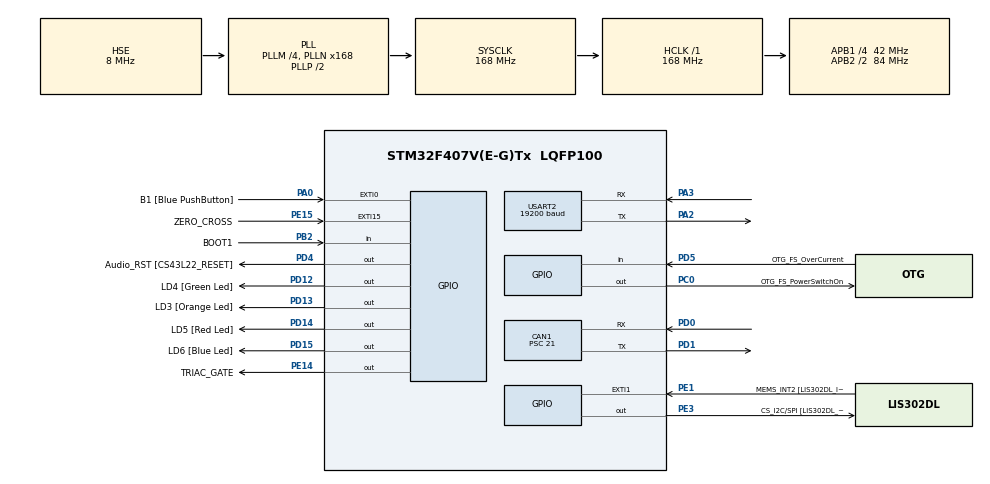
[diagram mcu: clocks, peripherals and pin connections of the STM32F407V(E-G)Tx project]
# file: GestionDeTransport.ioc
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CAN1.BS1=CAN_BS1_13TQ
CAN1.BS2=CAN_BS2_2TQ
CAN1.CalculateBaudRate=125000
CAN1.CalculateTimeBit=8000
CAN1.CalculateTimeQuantum=500.0
CAN1.Prescaler=21
Mcu.Family=STM32F4
Mcu.Name=STM32F407V(E-G)Tx
Mcu.Package=LQFP100
NVIC.EXTI15_10_IRQn=true\:0\:0\:false\:false\:true\:true\:true\:true
NVIC.PriorityGroup=NVIC_PRIORITYGROUP_0
NVIC.TIM6_DAC_IRQn=true\:0\:0\:false\:false\:true\:true\:true\:true
NVIC.TIM7_IRQn=true\:0\:0\:false\:false\:true\:true\:true\:true
PA0-WKUP.GPIO_Label=B1 [Blue PushButton]
PA0-WKUP.Signal=GPXTI0
PA10.GPIO_Label=OTG_FS_ID
PA10.GPIO_Mode=GPIO_MODE_AF_PP
PA10.GPIO_PuPd=GPIO_NOPULL
PA10.GPIO_Speed=GPIO_SPEED_FREQ_LOW
PA10.Signal=USB_OTG_FS_ID
PA11.GPIO_Label=OTG_FS_DM
PA11.GPIO_Mode=GPIO_MODE_AF_PP
PA11.GPIO_PuPd=GPIO_NOPULL
PA11.GPIO_Speed=GPIO_SPEED_FREQ_LOW
PA11.Signal=USB_OTG_FS_DM
PA12.GPIO_Label=OTG_FS_DP
PA12.GPIO_Mode=GPIO_MODE_AF_PP
PA12.GPIO_PuPd=GPIO_NOPULL
PA12.GPIO_Speed=GPIO_SPEED_FREQ_LOW
PA12.Signal=USB_OTG_FS_DP
PA13.GPIO_Label=SWDIO
PA13.Signal=SYS_JTMS-SWDIO
PA14.GPIO_Label=SWCLK
PA14.Signal=SYS_JTCK-SWCLK
PA2.Mode=Asynchronous
PA2.Signal=USART2_TX
PA3.Mode=Asynchronous
PA3.Signal=USART2_RX
PA4.GPIO_Label=I2S3_WS [CS43L22_LRCK]
PA4.GPIO_Mode=GPIO_MODE_AF_PP
PA4.GPIO_PuPd=GPIO_NOPULL
PA4.GPIO_Speed=GPIO_SPEED_FREQ_LOW
PA4.Signal=I2S3_WS
PA5.GPIO_Label=SPI1_SCK [LIS302DL_SCL/SPC]
PA5.GPIO_Mode=GPIO_MODE_AF_PP
PA5.GPIO_PuPd=GPIO_NOPULL
PA5.GPIO_Speed=GPIO_SPEED_FREQ_LOW
PA5.Signal=SPI1_SCK
PA6.GPIO_Label=SPI1_MISO [LIS302DL_SDO]
PA6.GPIO_Mode=GPIO_MODE_AF_PP
PA6.GPIO_PuPd=GPIO_NOPULL
PA6.GPIO_Speed=GPIO_SPEED_FREQ_LOW
PA6.Signal=SPI1_MISO
PA7.GPIO_Label=SPI1_MOSI [LIS302DL_SDA/SDI/SDO]
PA7.GPIO_Mode=GPIO_MODE_AF_PP
PA7.GPIO_PuPd=GPIO_NOPULL
PA7.GPIO_Speed=GPIO_SPEED_FREQ_LOW
PA7.Signal=SPI1_MOSI
PA9.GPIO_Label=VBUS_FS
PA9.GPIO_Mode=GPIO_MODE_INPUT
PA9.GPIO_PuPd=GPIO_NOPULL
PA9.Signal=USB_OTG_FS_VBUS
PB10.GPIO_Label=CLK_IN [MP45DT02_CLK]
PB10.GPIO_Mode=GPIO_MODE_AF_PP
PB10.GPIO_PuPd=GPIO_NOPULL
PB10.GPIO_Speed=GPIO_SPEED_FREQ_LOW
PB10.Signal=I2S2_CK
PB2.GPIO_Label=BOOT1
PB2.GPIO_Mode=GPIO_MODE_INPUT
PB2.GPIO_PuPd=GPIO_NOPULL
PB2.Signal=GPIO_Input
PB3.GPIO_Label=SWO
PB3.Signal=SYS_JTDO-SWO
PB6.GPIO_Label=Audio_SCL [CS43L22_SCL]
PB6.GPIO_Mode=GPIO_MODE_AF_OD
PB6.GPIO_PuPd=GPIO_NOPULL
PB6.GPIO_Speed=GPIO_SPEED_FREQ_LOW
PB6.Signal=I2C1_SCL
PB9.GPIO_Label=Audio_SDA [CS43L22_SDA]
PB9.GPIO_Mode=GPIO_MODE_AF_OD
PB9.GPIO_PuPd=GPIO_NOPULL
PB9.GPIO_Speed=GPIO_SPEED_FREQ_LOW
PB9.Signal=I2C1_SDA
PC0.GPIO_Label=OTG_FS_PowerSwitchOn
PC0.GPIO_PuPd=GPIO_NOPULL
PC0.GPIO_Speed=GPIO_SPEED_FREQ_LOW
PC0.PinState=GPIO_PIN_SET
PC0.Signal=GPIO_Output
PC10.GPIO_Label=I2S3_SCK [CS43L22_SCLK]
PC10.GPIO_Mode=GPIO_MODE_AF_PP
PC10.GPIO_PuPd=GPIO_NOPULL
PC10.GPIO_Speed=GPIO_SPEED_FREQ_LOW
PC10.Signal=I2S3_CK
PC12.GPIO_Label=I2S3_SD [CS43L22_SDIN]
PC12.GPIO_Mode=GPIO_MODE_AF_PP
PC12.GPIO_PuPd=GPIO_NOPULL
PC12.GPIO_Speed=GPIO_SPEED_FREQ_LOW
PC12.Signal=I2S3_SD
PC14-OSC32_IN.GPIO_Label=PC14-OSC32_IN
PC14-OSC32_IN.Signal=RCC_OSC32_IN
PC15-OSC32_OUT.GPIO_Label=PC15-OSC32_OUT
PC15-OSC32_OUT.Signal=RCC_OSC32_OUT
PC3.GPIO_Label=PDM_OUT [MP45DT02_DOUT]
PC3.GPIO_Mode=GPIO_MODE_AF_PP
PC3.GPIO_PuPd=GPIO_NOPULL
PC3.GPIO_Speed=GPIO_SPEED_FREQ_LOW
PC3.Signal=I2S2_SD
PC7.GPIO_Label=I2S3_MCK [CS43L22_MCLK]
PC7.GPIO_Mode=GPIO_MODE_AF_PP
PC7.GPIO_PuPd=GPIO_NOPULL
PC7.GPIO_Speed=GPIO_SPEED_FREQ_LOW
PC7.Signal=I2S3_MCK
PD0.Mode=CAN_Activate
PD0.Signal=CAN1_RX
PD1.Mode=CAN_Activate
PD1.Signal=CAN1_TX
PD12.GPIO_Label=LD4 [Green Led]
PD12.GPIO_PuPd=GPIO_NOPULL
PD12.GPIO_Speed=GPIO_SPEED_FREQ_LOW
PD12.Signal=GPIO_Output
PD13.GPIO_Label=LD3 [Orange Led]
PD13.GPIO_PuPd=GPIO_NOPULL
PD13.GPIO_Speed=GPIO_SPEED_FREQ_LOW
PD13.Signal=GPIO_Output
PD14.GPIO_Label=LD5 [Red Led]
PD14.GPIO_PuPd=GPIO_NOPULL
PD14.GPIO_Speed=GPIO_SPEED_FREQ_LOW
PD14.Signal=GPIO_Output
PD15.GPIO_Label=LD6 [Blue Led]
PD15.GPIO_PuPd=GPIO_NOPULL
PD15.GPIO_Speed=GPIO_SPEED_FREQ_LOW
PD15.Signal=GPIO_Output
PD4.GPIO_Label=Audio_RST [CS43L22_RESET]
PD4.GPIO_PuPd=GPIO_NOPULL
PD4.GPIO_Speed=GPIO_SPEED_FREQ_LOW
PD4.Signal=GPIO_Output
PD5.GPIO_Label=OTG_FS_OverCurrent
PD5.GPIO_Mode=GPIO_MODE_INPUT
PD5.GPIO_PuPd=GPIO_NOPULL
PD5.Signal=GPIO_Input
PE1.GPIO_Label=MEMS_INT2 [LIS302DL_INT2]
PE1.GPIO_ModeDefaultEXTI=GPIO_MODE_EVT_RISING
PE1.GPIO_PuPd=GPIO_NOPULL
PE1.Signal=GPXTI1
PE14.GPIO_Label=TRIAC_GATE
PE14.Signal=GPIO_Output
PE15.GPIO_Label=ZERO_CROSS
PE15.GPIO_ModeDefaultEXTI=GPIO_MODE_IT_RISING
PE15.Signal=GPXTI15
PE3.GPIO_Label=CS_I2C/SPI [LIS302DL_CS_I2C/SPI]
PE3.GPIO_PuPd=GPIO_NOPULL
PE3.GPIO_Speed=GPIO_SPEED_FREQ_LOW
PE3.Signal=GPIO_Output
PH0-OSC_IN.GPIO_Label=PH0-OSC_IN
PH0-OSC_IN.Mode=HSE-External-Oscillator
PH0-OSC_IN.Signal=RCC_OSC_IN
PH1-OSC_OUT.GPIO_Label=PH1-OSC_OUT
PH1-OSC_OUT.Mode=HSE-External-Oscillator
PH1-OSC_OUT.Signal=RCC_OSC_OUT
ProjectManager.HeapSize=0x200
ProjectManager.StackSize=0x400
ProjectManager.TargetToolchain=EWARM V7
RCC.48MHZClocksFreq_Value=48000000
RCC.AHBFreq_Value=168000000
RCC.APB1CLKDivider=RCC_HCLK_DIV4
RCC.APB1Freq_Value=42000000
RCC.APB1TimFreq_Value=84000000
RCC.APB2CLKDivider=RCC_HCLK_DIV2
RCC.APB2Freq_Value=84000000
RCC.APB2TimFreq_Value=168000000
RCC.CortexFreq_Value=168000000
RCC.HCLKFreq_Value=168000000
RCC.HSE_VALUE=8000000
RCC.HSI_VALUE=16000000
RCC.LSE_VALUE=32768
RCC.PLLM=4
RCC.PLLN=168
RCC.PLLQ=7
RCC.PLLSourceVirtual=RCC_PLLSOURCE_HSE
RCC.SYSCLKFreq_VALUE=168000000
RCC.SYSCLKSource=RCC_SYSCLKSOURCE_PLLCLK
RCC.VCOOutputFreq_Value=336000000
TIM6.Period=PILOTETIMER6UP_COMPTE_MAXIMAL
TIM6.TIM_MasterOutputTrigger=TIM_TRGO_ENABLE
TIM7.Period=16799
TIM7.Prescaler=0
USART2.BaudRate=19200
USART2.VirtualMode=VM_ASYNC
VP_TIM6_VS_ClockSourceINT.Mode=Enable_Timer
VP_TIM7_VS_ClockSourceINT.Mode=Enable_Timer
board=STM32F407G-DISC1

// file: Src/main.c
/* USER CODE BEGIN Header */
/**
  ******************************************************************************
  * @file           : main.c
  * @brief          : Main program body
  ******************************************************************************
  * @attention
  *
  * <h2><center>&copy; Copyright (c) 2019 STMicroelectronics.
  * All rights reserved.</center></h2>
  *
  * This software component is licensed by ST under BSD 3-Clause license,
  * the "License"; You may not use this file except in compliance with the
  * License. You may obtain a copy of the License at:
  *                        opensource.org/licenses/BSD-3-Clause
  *
  ******************************************************************************
  */
/* USER CODE END Header */
#include "main.h"

/* USER CODE BEGIN Includes */
#include "stm32f4xx_hal.h"
//notes sur l'utilisation des timers.
// https://www.st.com/content/ccc/resource/technical/document/application_note/group0/91/01/84/3f/7c/67/41/3f/DM00236305/files/DM00236305.pdf/jcr:content/translations/en.DM00236305.pdf
//https://stm32f4-discovery.net/2014/05/stm32f4-stm32f429-discovery-pwm-tutorial/
//timer 6 sur APB1
//timer_tick_frequency = Timer_default_frequency / (prescaller_set + 1)
//default_frequency = 84MHz compte tenu des options choisies avec le "cube"
//TIM_Period = timer_tick_frequency / TIM_frequency - 1
//il faut s'assurer que le compte pour la periode est plus petit que 65536

//usart2
//tx pa2
//rx pa3
#include "serviceProtocole637.h"
#include "serviceCan637.h"
#include "ProcessusCAN_UART.h"
#include "piloteCAN1.h"
#include "piloteTimer6Up.h"
#include "piloteUSART2.h"
#include "piloteIOT1.h"
#include "piloteIOT2.h"
#include "serviceBaseDeTemps.h"
#include "serviceTriac.h"
#include "interfaceT1.h"
#include "interfaceT2.h"
#include "serviceProtocole637.h"
#include "processusAscenseur.h"
#include "processusClignotant.h"
//#include "processusReceptionEtat.h"
/* USER CODE END Includes */

CAN_HandleTypeDef hcan1;

TIM_HandleTypeDef htim6;
TIM_HandleTypeDef htim7;

UART_HandleTypeDef huart2;

void SystemClock_Config(void);
static void MX_GPIO_Init(void);
static void MX_USART2_UART_Init(void);
static void MX_TIM6_Init(void);
static void MX_CAN1_Init(void);
static void MX_TIM7_Init(void);

/* USER CODE BEGIN 0 */
void main_initialise(void)
{
piloteTimer6Up_initialise();
piloteUSART2_initialise();
piloteCAN1_initialise();

piloteIOT1_initialise();
piloteIOT2_initialise();
serviceBaseDeTemps_initialise();

interfaceT1_initialise();
interfaceT2_initialise();
serviceProtocole637_initialise();
serviceCan637_initialise();
processusCAN_UART_initialise();
processusClignotant_initialise();
serviceTriac_initialise();
processusTriac_initialise();

    // TEST: Force niveau 50%
//    serviceTriac_fixeNiveau(50);
//    serviceTriac_active();
}

void neFaitRien(void)
{
}

/* USER CODE END 0 */

int main(void)
{

  /* MCU Configuration--------------------------------------------------------*/

  /* Reset of all peripherals, Initializes the Flash interface and the Systick. */
  HAL_Init();

  /* Configure the system clock */
  SystemClock_Config();

  /* Initialize all configured peripherals */
  MX_GPIO_Init();
  MX_USART2_UART_Init();
  MX_TIM6_Init();
  MX_CAN1_Init();
  MX_TIM7_Init();
  /* USER CODE BEGIN 2 */
  main_initialise();
  piloteTimer6Up_permetLesInterruptions();

  /* USER CODE END 2 */

  /* Infinite loop */
  while (1)
  {

  }
}

void SystemClock_Config(void)
{
  RCC_OscInitTypeDef RCC_OscInitStruct = {0};
  RCC_ClkInitTypeDef RCC_ClkInitStruct = {0};

  /** Configure the main internal regulator output voltage
  */
  __HAL_RCC_PWR_CLK_ENABLE();
  __HAL_PWR_VOLTAGESCALING_CONFIG(PWR_REGULATOR_VOLTAGE_SCALE1);

  /** Initializes the RCC Oscillators according to the specified parameters
  * in the RCC_OscInitTypeDef structure.
  */
  RCC_OscInitStruct.OscillatorType = RCC_OSCILLATORTYPE_HSE;
  RCC_OscInitStruct.HSEState = RCC_HSE_ON;
  RCC_OscInitStruct.PLL.PLLState = RCC_PLL_ON;
  RCC_OscInitStruct.PLL.PLLSource = RCC_PLLSOURCE_HSE;
  RCC_OscInitStruct.PLL.PLLM = 4;
  RCC_OscInitStruct.PLL.PLLN = 168;
  RCC_OscInitStruct.PLL.PLLP = RCC_PLLP_DIV2;
  RCC_OscInitStruct.PLL.PLLQ = 7;
  if (HAL_RCC_OscConfig(&RCC_OscInitStruct) != HAL_OK)
  {
    Error_Handler();
  }

  /** Initializes the CPU, AHB and APB buses clocks
  */
  RCC_ClkInitStruct.ClockType = RCC_CLOCKTYPE_HCLK|RCC_CLOCKTYPE_SYSCLK
                              |RCC_CLOCKTYPE_PCLK1|RCC_CLOCKTYPE_PCLK2;
  RCC_ClkInitStruct.SYSCLKSource = RCC_SYSCLKSOURCE_PLLCLK;
  RCC_ClkInitStruct.AHBCLKDivider = RCC_SYSCLK_DIV1;
  RCC_ClkInitStruct.APB1CLKDivider = RCC_HCLK_DIV4;
  RCC_ClkInitStruct.APB2CLKDivider = RCC_HCLK_DIV2;

  if (HAL_RCC_ClockConfig(&RCC_ClkInitStruct, FLASH_LATENCY_5) != HAL_OK)
  {
    Error_Handler();
  }
}

static void MX_CAN1_Init(void)
{

  hcan1.Instance = CAN1;
  hcan1.Init.Prescaler = 21;
  hcan1.Init.Mode = CAN_MODE_NORMAL;
  hcan1.Init.SyncJumpWidth = CAN_SJW_1TQ;
  hcan1.Init.TimeSeg1 = CAN_BS1_13TQ;
  hcan1.Init.TimeSeg2 = CAN_BS2_2TQ;
  hcan1.Init.TimeTriggeredMode = DISABLE;
  hcan1.Init.AutoBusOff = DISABLE;
  hcan1.Init.AutoWakeUp = DISABLE;
  hcan1.Init.AutoRetransmission = DISABLE;
  hcan1.Init.ReceiveFifoLocked = DISABLE;
  hcan1.Init.TransmitFifoPriority = DISABLE;
  if (HAL_CAN_Init(&hcan1) != HAL_OK)
  {
    Error_Handler();
  }

}

static void MX_TIM6_Init(void)
{

  TIM_MasterConfigTypeDef sMasterConfig = {0};

  htim6.Instance = TIM6;
  htim6.Init.Prescaler = 0;
  htim6.Init.CounterMode = TIM_COUNTERMODE_UP;
  htim6.Init.Period = PILOTETIMER6UP_COMPTE_MAXIMAL;
  htim6.Init.AutoReloadPreload = TIM_AUTORELOAD_PRELOAD_DISABLE;
  if (HAL_TIM_Base_Init(&htim6) != HAL_OK)
  {
    Error_Handler();
  }
  sMasterConfig.MasterOutputTrigger = TIM_TRGO_ENABLE;
  sMasterConfig.MasterSlaveMode = TIM_MASTERSLAVEMODE_DISABLE;
  if (HAL_TIMEx_MasterConfigSynchronization(&htim6, &sMasterConfig) != HAL_OK)
  {
    Error_Handler();
  }

}

static void MX_TIM7_Init(void)
{

  TIM_MasterConfigTypeDef sMasterConfig = {0};

  htim7.Instance = TIM7;
  htim7.Init.Prescaler = 0;
  htim7.Init.CounterMode = TIM_COUNTERMODE_UP;
  htim7.Init.Period = 16799;
  htim7.Init.AutoReloadPreload = TIM_AUTORELOAD_PRELOAD_DISABLE;
  if (HAL_TIM_Base_Init(&htim7) != HAL_OK)
  {
    Error_Handler();
  }
  sMasterConfig.MasterOutputTrigger = TIM_TRGO_RESET;
  sMasterConfig.MasterSlaveMode = TIM_MASTERSLAVEMODE_DISABLE;
  if (HAL_TIMEx_MasterConfigSynchronization(&htim7, &sMasterConfig) != HAL_OK)
  {
    Error_Handler();
  }

}

static void MX_USART2_UART_Init(void)
{

  huart2.Instance = USART2;
  huart2.Init.BaudRate = 19200;
  huart2.Init.WordLength = UART_WORDLENGTH_8B;
  huart2.Init.StopBits = UART_STOPBITS_1;
  huart2.Init.Parity = UART_PARITY_NONE;
  huart2.Init.Mode = UART_MODE_TX_RX;
  huart2.Init.HwFlowCtl = UART_HWCONTROL_NONE;
  huart2.Init.OverSampling = UART_OVERSAMPLING_16;
  if (HAL_UART_Init(&huart2) != HAL_OK)
  {
    Error_Handler();
  }

}

static void MX_GPIO_Init(void)
{
  GPIO_InitTypeDef GPIO_InitStruct = {0};

  /* GPIO Ports Clock Enable */
  __HAL_RCC_GPIOE_CLK_ENABLE();
  __HAL_RCC_GPIOC_CLK_ENABLE();
  __HAL_RCC_GPIOH_CLK_ENABLE();
  __HAL_RCC_GPIOA_CLK_ENABLE();
  __HAL_RCC_GPIOB_CLK_ENABLE();
  __HAL_RCC_GPIOD_CLK_ENABLE();

  /*Configure GPIO pin Output Level */
  HAL_GPIO_WritePin(GPIOE, CS_I2C_SPI_Pin|TRIAC_GATE_Pin, GPIO_PIN_RESET);

  /*Configure GPIO pin Output Level */
  HAL_GPIO_WritePin(OTG_FS_PowerSwitchOn_GPIO_Port, OTG_FS_PowerSwitchOn_Pin, GPIO_PIN_SET);

  /*Configure GPIO pin Output Level */
  HAL_GPIO_WritePin(GPIOD, LD4_Pin|LD3_Pin|LD5_Pin|LD6_Pin
                          |Audio_RST_Pin, GPIO_PIN_RESET);

  /*Configure GPIO pins : CS_I2C_SPI_Pin TRIAC_GATE_Pin */
  GPIO_InitStruct.Pin = CS_I2C_SPI_Pin|TRIAC_GATE_Pin;
  GPIO_InitStruct.Mode = GPIO_MODE_OUTPUT_PP;
  GPIO_InitStruct.Pull = GPIO_NOPULL;
  GPIO_InitStruct.Speed = GPIO_SPEED_FREQ_LOW;
  HAL_GPIO_Init(GPIOE, &GPIO_InitStruct);

  /*Configure GPIO pin : OTG_FS_PowerSwitchOn_Pin */
  GPIO_InitStruct.Pin = OTG_FS_PowerSwitchOn_Pin;
  GPIO_InitStruct.Mode = GPIO_MODE_OUTPUT_PP;
  GPIO_InitStruct.Pull = GPIO_NOPULL;
  GPIO_InitStruct.Speed = GPIO_SPEED_FREQ_LOW;
  HAL_GPIO_Init(OTG_FS_PowerSwitchOn_GPIO_Port, &GPIO_InitStruct);

  /*Configure GPIO pin : PDM_OUT_Pin */
  GPIO_InitStruct.Pin = PDM_OUT_Pin;
  GPIO_InitStruct.Mode = GPIO_MODE_AF_PP;
  GPIO_InitStruct.Pull = GPIO_NOPULL;
  GPIO_InitStruct.Speed = GPIO_SPEED_FREQ_LOW;
  GPIO_InitStruct.Alternate = GPIO_AF5_SPI2;
  HAL_GPIO_Init(PDM_OUT_GPIO_Port, &GPIO_InitStruct);

  /*Configure GPIO pin : B1_Pin */
  GPIO_InitStruct.Pin = B1_Pin;
  GPIO_InitStruct.Mode = GPIO_MODE_IT_RISING;
  GPIO_InitStruct.Pull = GPIO_NOPULL;
  HAL_GPIO_Init(B1_GPIO_Port, &GPIO_InitStruct);

  /*Configure GPIO pin : I2S3_WS_Pin */
  GPIO_InitStruct.Pin = I2S3_WS_Pin;
  GPIO_InitStruct.Mode = GPIO_MODE_AF_PP;
  GPIO_InitStruct.Pull = GPIO_NOPULL;
  GPIO_InitStruct.Speed = GPIO_SPEED_FREQ_LOW;
  GPIO_InitStruct.Alternate = GPIO_AF6_SPI3;
  HAL_GPIO_Init(I2S3_WS_GPIO_Port, &GPIO_InitStruct);

  /*Configure GPIO pins : SPI1_SCK_Pin SPI1_MISO_Pin SPI1_MOSI_Pin */
  GPIO_InitStruct.Pin = SPI1_SCK_Pin|SPI1_MISO_Pin|SPI1_MOSI_Pin;
  GPIO_InitStruct.Mode = GPIO_MODE_AF_PP;
  GPIO_InitStruct.Pull = GPIO_NOPULL;
  GPIO_InitStruct.Speed = GPIO_SPEED_FREQ_LOW;
  GPIO_InitStruct.Alternate = GPIO_AF5_SPI1;
  HAL_GPIO_Init(GPIOA, &GPIO_InitStruct);

  /*Configure GPIO pin : BOOT1_Pin */
  GPIO_InitStruct.Pin = BOOT1_Pin;
  GPIO_InitStruct.Mode = GPIO_MODE_INPUT;
  GPIO_InitStruct.Pull = GPIO_NOPULL;
  HAL_GPIO_Init(BOOT1_GPIO_Port, &GPIO_InitStruct);

  /*Configure GPIO pin : ZERO_CROSS_Pin */
  GPIO_InitStruct.Pin = ZERO_CROSS_Pin;
  GPIO_InitStruct.Mode = GPIO_MODE_IT_RISING;
  GPIO_InitStruct.Pull = GPIO_NOPULL;
  HAL_GPIO_Init(ZERO_CROSS_GPIO_Port, &GPIO_InitStruct);

  /*Configure GPIO pin : CLK_IN_Pin */
  GPIO_InitStruct.Pin = CLK_IN_Pin;
  GPIO_InitStruct.Mode = GPIO_MODE_AF_PP;
  GPIO_InitStruct.Pull = GPIO_NOPULL;
  GPIO_InitStruct.Speed = GPIO_SPEED_FREQ_LOW;
  GPIO_InitStruct.Alternate = GPIO_AF5_SPI2;
  HAL_GPIO_Init(CLK_IN_GPIO_Port, &GPIO_InitStruct);

  /*Configure GPIO pins : LD4_Pin LD3_Pin LD5_Pin LD6_Pin
                           Audio_RST_Pin */
  GPIO_InitStruct.Pin = LD4_Pin|LD3_Pin|LD5_Pin|LD6_Pin
                          |Audio_RST_Pin;
  GPIO_InitStruct.Mode = GPIO_MODE_OUTPUT_PP;
  GPIO_InitStruct.Pull = GPIO_NOPULL;
  GPIO_InitStruct.Speed = GPIO_SPEED_FREQ_LOW;
  HAL_GPIO_Init(GPIOD, &GPIO_InitStruct);

  /*Configure GPIO pins : I2S3_MCK_Pin I2S3_SCK_Pin I2S3_SD_Pin */
  GPIO_InitStruct.Pin = I2S3_MCK_Pin|I2S3_SCK_Pin|I2S3_SD_Pin;
  GPIO_InitStruct.Mode = GPIO_MODE_AF_PP;
  GPIO_InitStruct.Pull = GPIO_NOPULL;
  GPIO_InitStruct.Speed = GPIO_SPEED_FREQ_LOW;
  GPIO_InitStruct.Alternate = GPIO_AF6_SPI3;
  HAL_GPIO_Init(GPIOC, &GPIO_InitStruct);

  /*Configure GPIO pin : VBUS_FS_Pin */
  GPIO_InitStruct.Pin = VBUS_FS_Pin;
  GPIO_InitStruct.Mode = GPIO_MODE_INPUT;
  GPIO_InitStruct.Pull = GPIO_NOPULL;
  HAL_GPIO_Init(VBUS_FS_GPIO_Port, &GPIO_InitStruct);

  /*Configure GPIO pins : OTG_FS_ID_Pin OTG_FS_DM_Pin OTG_FS_DP_Pin */
  GPIO_InitStruct.Pin = OTG_FS_ID_Pin|OTG_FS_DM_Pin|OTG_FS_DP_Pin;
  GPIO_InitStruct.Mode = GPIO_MODE_AF_PP;
  GPIO_InitStruct.Pull = GPIO_NOPULL;
  GPIO_InitStruct.Speed = GPIO_SPEED_FREQ_LOW;
  GPIO_InitStruct.Alternate = GPIO_AF10_OTG_FS;
  HAL_GPIO_Init(GPIOA, &GPIO_InitStruct);

  /*Configure GPIO pin : OTG_FS_OverCurrent_Pin */
  GPIO_InitStruct.Pin = OTG_FS_OverCurrent_Pin;
  GPIO_InitStruct.Mode = GPIO_MODE_INPUT;
  GPIO_InitStruct.Pull = GPIO_NOPULL;
  HAL_GPIO_Init(OTG_FS_OverCurrent_GPIO_Port, &GPIO_InitStruct);

  /*Configure GPIO pins : Audio_SCL_Pin Audio_SDA_Pin */
  GPIO_InitStruct.Pin = Audio_SCL_Pin|Audio_SDA_Pin;
  GPIO_InitStruct.Mode = GPIO_MODE_AF_OD;
  GPIO_InitStruct.Pull = GPIO_NOPULL;
  GPIO_InitStruct.Speed = GPIO_SPEED_FREQ_LOW;
  GPIO_InitStruct.Alternate = GPIO_AF4_I2C1;
  HAL_GPIO_Init(GPIOB, &GPIO_InitStruct);

  /*Configure GPIO pin : MEMS_INT2_Pin */
  GPIO_InitStruct.Pin = MEMS_INT2_Pin;
  GPIO_InitStruct.Mode = GPIO_MODE_EVT_RISING;
  GPIO_InitStruct.Pull = GPIO_NOPULL;
  HAL_GPIO_Init(MEMS_INT2_GPIO_Port, &GPIO_InitStruct);

  /* EXTI interrupt init*/
  HAL_NVIC_SetPriority(EXTI15_10_IRQn, 0, 0);
  HAL_NVIC_EnableIRQ(EXTI15_10_IRQn);

}

void Error_Handler(void)
{
}
